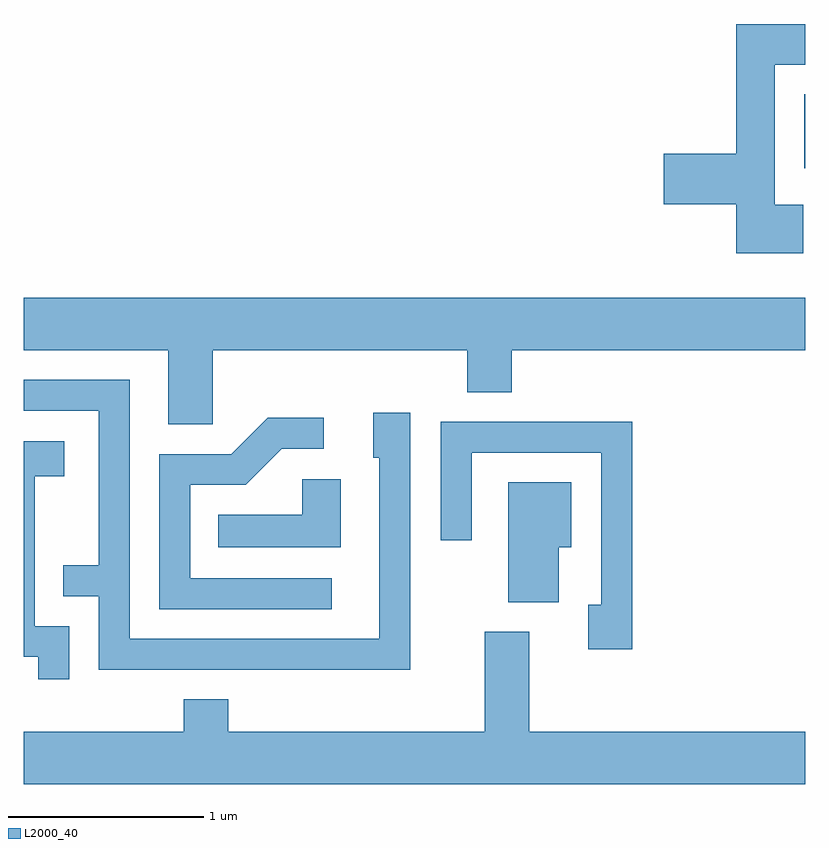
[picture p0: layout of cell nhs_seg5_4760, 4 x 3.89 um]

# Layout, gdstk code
import gdstk
lib = gdstk.Library(unit=1e-6, precision=1e-09)
def R(c, l, rs):  # rectangles x0, y0, x1, y1
    for r in rs: c.add(gdstk.rectangle(r[:2], r[2:], *l))
def P(c, l, *ps):  # polygons
    for p in ps: c.add(gdstk.Polygon(p, *l))
L2000_40 = (2000, 40)

nhs_seg5_4760 = lib.new_cell('nhs_seg5_4760')
R(nhs_seg5_4760, L2000_40, [(329.606,1513.226,329.611,1513.604)])
P(nhs_seg5_4760, L2000_40, [(329.599,1513.039),(329.454,1513.039),(329.454,1513.756),(329.611,1513.756),(329.611,1513.964),(329.256,1513.964),(329.256,1513.299),(328.886,1513.299),(328.886,1513.041),(329.256,1513.041),(329.256,1512.791),(329.599,1512.791)],
  [(326.579,1512.296),(327.881,1512.296),(327.881,1512.081),(328.109,1512.081),(328.109,1512.296),(329.611,1512.296),(329.611,1512.564),(325.611,1512.564),(325.611,1512.296),(326.351,1512.296),(326.351,1511.916),(326.579,1511.916)],
  [(327.589,1511.974),(327.401,1511.974),(327.401,1511.746),(327.431,1511.746),(327.431,1510.819),(326.154,1510.819),(326.154,1512.144),(325.611,1512.144),(325.611,1511.986),(325.996,1511.986),(325.996,1511.194),(325.813,1511.194),(325.813,1511.036),(325.996,1511.036),(325.996,1510.661),(327.589,1510.661)],
  [(327.188,1511.129),(326.464,1511.129),(326.464,1511.606),(326.747,1511.606),(326.932,1511.791),(327.148,1511.791),(327.148,1511.949),(326.859,1511.949),(326.674,1511.764),(326.306,1511.764),(326.306,1510.971),(327.188,1510.971)],
  [(328.724,1511.929),(327.746,1511.929),(327.746,1511.323),(327.904,1511.323),(327.904,1511.771),(328.566,1511.771),(328.566,1510.994),(328.501,1510.994),(328.501,1510.766),(328.724,1510.766)],
  [(325.844,1510.884),(325.669,1510.884),(325.669,1511.651),(325.819,1511.651),(325.819,1511.829),(325.611,1511.829),(325.611,1510.726),(325.686,1510.726),(325.686,1510.613),(325.844,1510.613)],
  [(327.234,1511.634),(327.036,1511.634),(327.036,1511.454),(326.608,1511.454),(326.608,1511.286),(327.234,1511.286)],
  [(328.349,1511.286),(328.414,1511.286),(328.414,1511.619),(328.091,1511.619),(328.091,1511.006),(328.349,1511.006)],
  [(329.611,1510.344),(328.199,1510.344),(328.199,1510.854),(327.971,1510.854),(327.971,1510.344),(326.659,1510.344),(326.659,1510.509),(326.431,1510.509),(326.431,1510.344),(325.611,1510.344),(325.611,1510.076),(329.611,1510.076)])

lib.write_gds('nhs_seg5_4760.gds')
